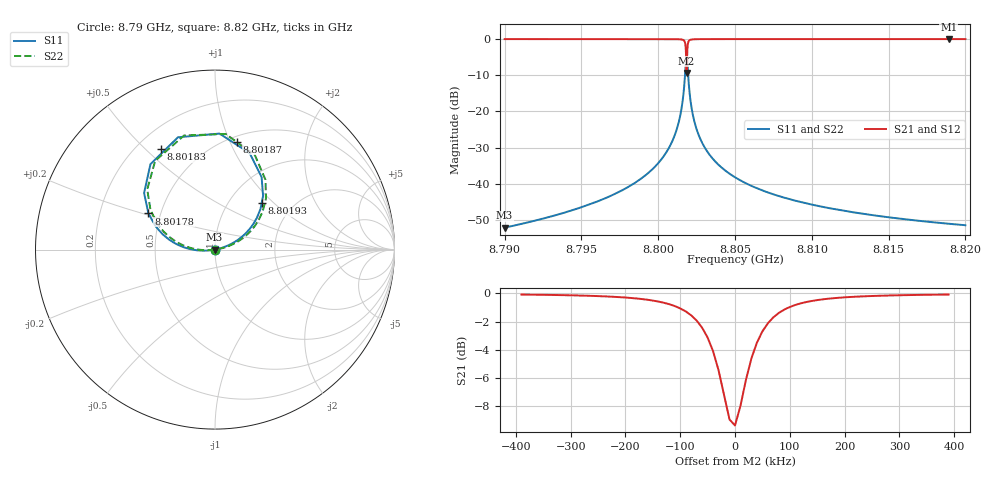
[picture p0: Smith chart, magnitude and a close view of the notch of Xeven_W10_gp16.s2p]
! Sonnet Data File
! From: emgraph Version : 16.52
! From Project: Qubit_Test_beforeopt
! Data is De-embedded
! Data File Written: 10/18/2017 16:57:22
!< HDATE 10/18/2017 09:03:38
!< MDATE 10/18/2017 09:03:38
!< PARAMS
!< Lj = 11.0
!< Gap = 16.0
!< Pwid = 2000.0
!< Airgap = 6.0
!< Width = 10.0
!< END PARAMS
# GHZ S MA R 51.80000
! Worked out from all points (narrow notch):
!   3001 points, 8.79 GHz to 8.82 GHz, reference 51.8 ohm
!   highest |S21| = 0.00 dB at 8.81891 GHz (marker M1); lowest = -9.4 dB at 8.80185 GHz (marker M2)
!   notch at M2: 9.4 dB deep, 65.2 kHz wide at half that depth
!   lowest |S11| = -52.2 dB at 8.79 GHz (marker M3), VSWR 1.00, Z = 51.5 - j0.027 ohm
!   |S11| at or under -10 dB: start of sweep to 8.801745 GHz; 8.801949 GHz to end of sweep
!   |S22| runs from -52.2 to -3.6 dB; largest |S21 - S12| = 0
!   S11 on the Smith chart (normalised r, x): 8.79 GHz: 1.00, -0.00; 8.80178 GHz: 0.43, +0.21; 8.80183 GHz: 0.30, +0.56; 8.80187 GHz: 0.55, +1.06; 8.80193 GHz: 1.41, +0.85; 8.82 GHz: 1.01, +0.00
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8.79  0.002467 -173.9  1 -80.6  1 -80.6  0.002466 -167.7
!< P1 F=8.79 Eeff=(6.44677226 -2.9786e-5) Z0=(51.7990523 1.19065e-4) R=0.0 C=0.0
!< P2 F=8.79 Eeff=(6.44677226 -2.9786e-5) Z0=(51.7990523 1.19065e-4) R=0.0 C=0.0
8.795  0.004724 -171.8  1 -80.8  1 -80.8  0.004723 -170.1
8.79803  0.008975 -171.1  0.9999 -81.0  0.9999 -81.0  0.008973 -171.6
8.8  0.01922 -171.3  0.9996 -81.6  0.9996 -81.6  0.01921 -173.2
8.80072  0.03188 -172.1  0.999 -82.4  0.999 -82.4  0.03187 -174.5
8.80122  0.05765 -174.2  0.9966 -83.9  0.9966 -83.9  0.05764 -176.9
8.80161  0.1501 177.8  0.977 -89.2  0.977 -89.2  0.1501 174.9
8.8017  0.233 170.4  0.9437 -93.9  0.9437 -93.9  0.233 167.4
8.80178  0.422 151.5  0.801 -104.6  0.801 -104.6  0.4219 148.4
8.80183  0.6347 118.2  0.4358 -106.0  0.4358 -106.0  0.6346 115.0
8.80185  0.6634 97.9  0.3394 -74.5  0.3394 -74.5  0.6633 94.8
8.80187  0.6136 78.4  0.4933 -52.0  0.4933 -52.0  0.6135 75.3
8.80193  0.3686 44.7  0.8528 -59.5  0.8528 -59.5  0.3685 41.5
8.80202  0.2027 28.8  0.958 -68.9  0.958 -68.9  0.2026 25.5
8.80225  0.09083 18.9  0.9917 -75.4  0.9917 -75.4  0.09082 15.6
8.80276  0.04075 14.8  0.9984 -78.2  0.9984 -78.2  0.04074 11.1
8.80365  0.02098 13.3  0.9996 -79.4  0.9996 -79.4  0.02097 9.1
8.805  0.01227 12.9  0.9999 -79.9  0.9999 -79.9  0.01227 7.9
8.81  0.005142 13.6  1 -80.3  1 -80.3  0.005141 6.0
8.815  0.003433 14.5  1 -80.5  1 -80.5  0.003432 4.7
8.81891  0.002795 15.2  1 -80.6  1 -80.6  0.002794 3.8
8.82  0.002666 15.4  1 -80.6  1 -80.6  0.002666 3.6
